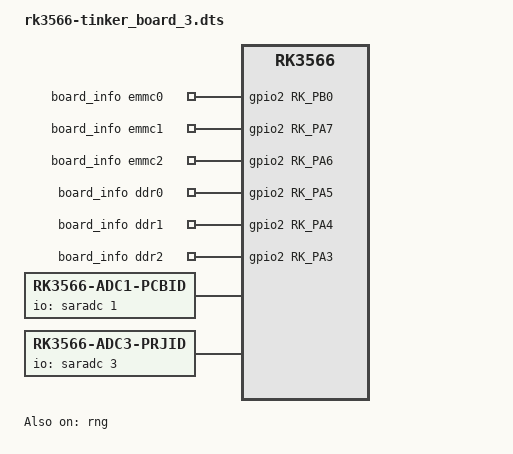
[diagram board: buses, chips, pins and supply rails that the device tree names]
// SPDX-License-Identifier: (GPL-2.0+ OR MIT)
/*
 * Copyright (c) 2020 Rockchip Electronics Co., Ltd.
 *
 */

#include "rk3566-tinker_board_3.dtsi"

/ {
	chosen: chosen {
		bootargs = "earlycon=uart8250,mmio32,0xfe660000 console=ttyFIQ0";
	};

	aliases {
		mmc0 = &sdmmc0;
		mmc1 = &sdmmc1;
		mmc2 = &sdhci;
		mmc3 = &sdmmc2;
	};

	fiq-debugger {
		compatible = "rockchip,fiq-debugger";
		rockchip,serial-id = <2>;
		rockchip,wake-irq = <0>;
		/* If enable uart uses irq instead of fiq */
		rockchip,irq-mode-enable = <1>;
		rockchip,baudrate = <1500000>;  /* Only 115200 and 1500000 */
		interrupts = <GIC_SPI 252 IRQ_TYPE_LEVEL_LOW>;
		pinctrl-names = "default";
		pinctrl-0 = <&uart2m0_xfer>;
		status = "okay";
	};

	firmware {
		optee: optee {
			compatible = "linaro,optee-tz";
			method = "smc";
		};
	};

	debug: debug@fd904000 {
		compatible = "rockchip,debug";
		reg = <0x0 0xfd904000 0x0 0x1000>,
			<0x0 0xfd905000 0x0 0x1000>,
			<0x0 0xfd906000 0x0 0x1000>,
			<0x0 0xfd907000 0x0 0x1000>;
	};

	cspmu: cspmu@fd90c000 {
		compatible = "rockchip,cspmu";
		reg = <0x0 0xfd90c000 0x0 0x1000>,
			<0x0 0xfd90d000 0x0 0x1000>,
			<0x0 0xfd90e000 0x0 0x1000>,
			<0x0 0xfd90f000 0x0 0x1000>;
	};

	vendor_storage: vendor-storage {
		compatible = "rockchip,ram-vendor-storage";
		memory-region = <&vendor_storage_rm>;
		status = "okay";
	};

	board_info: board-info {
		compatible = "board-info";

		model = "rk3566";

		pinctrl-names = "default";
		pinctrl-0 = <&boardinfo_gpio>;

		emmc0-gpios = <&gpio2 RK_PB0 GPIO_ACTIVE_HIGH>;
		emmc1-gpios = <&gpio2 RK_PA7 GPIO_ACTIVE_HIGH>;
		emmc2-gpios = <&gpio2 RK_PA6 GPIO_ACTIVE_HIGH>;
		ddr0-gpios = <&gpio2 RK_PA5 GPIO_ACTIVE_HIGH>;
		ddr1-gpios = <&gpio2 RK_PA4 GPIO_ACTIVE_HIGH>;
		ddr2-gpios = <&gpio2 RK_PA3 GPIO_ACTIVE_HIGH>;
	};

	RK3566-ADC1-PCBID {
		compatible = "RK3566-ADC1-PCBID";
		io-channels = <&saradc 1>;
		io-channel-names = "RK3566-ADC1-PCBID";
	};

	RK3566-ADC3-PRJID {
		compatible = "RK3566-ADC3-PRJID";
		io-channels = <&saradc 3>;
		io-channel-names = "RK3566-ADC3-PRJID";
	};
};

&reserved_memory {
	linux,cma {
		compatible = "shared-dma-pool";
		inactive;
		reusable;
		reg = <0x0 0x10000000 0x0 0x00800000>;
		linux,cma-default;
	};

	ramoops: ramoops@110000 {
		compatible = "ramoops";
		reg = <0x0 0x110000 0x0 0xf0000>;
		record-size = <0x20000>;
		console-size = <0x80000>;
		ftrace-size = <0x00000>;
		pmsg-size = <0x50000>;
	};

	vendor_storage_rm: vendor-storage-rm@00000000 {
		compatible = "rockchip,vendor-storage-rm";
		reg = <0x0 0x0 0x0 0x0>;
	};
};

&rng {
	status = "okay";
};

&rockchip_suspend {
	status = "okay";
};

&u2phy0_otg {
	rockchip,dis-u2-susphy;
};

&vop {
	support-multi-area;
};
